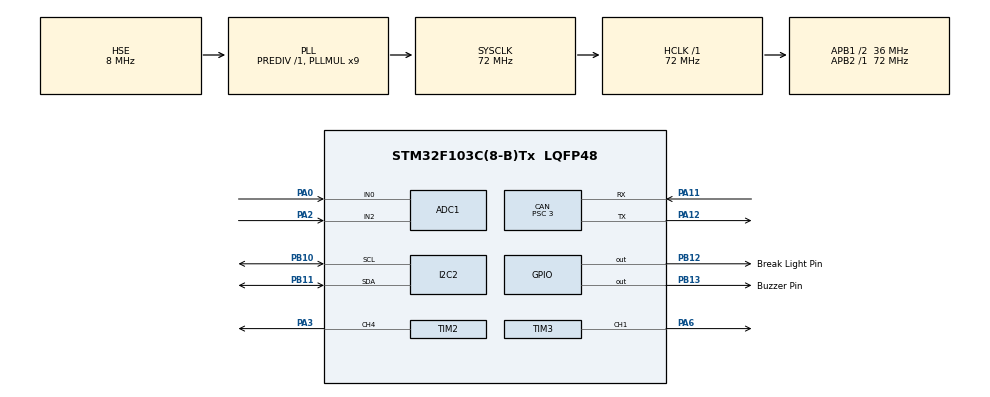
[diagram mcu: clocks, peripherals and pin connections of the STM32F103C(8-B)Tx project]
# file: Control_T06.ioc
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ADC1.Channel-0\#ChannelRegularConversion=ADC_CHANNEL_0
ADC1.Channel-1\#ChannelRegularConversion=ADC_CHANNEL_2
ADC1.ContinuousConvMode=ENABLE
ADC1.NbrOfConversion=2
ADC1.NbrOfConversionFlag=1
ADC1.Rank-0\#ChannelRegularConversion=1
ADC1.Rank-1\#ChannelRegularConversion=2
ADC1.SamplingTime-0\#ChannelRegularConversion=ADC_SAMPLETIME_239CYCLES_5
ADC1.SamplingTime-1\#ChannelRegularConversion=ADC_SAMPLETIME_239CYCLES_5
ADC1.master=1
CAN.BS1=CAN_BS1_8TQ
CAN.BS2=CAN_BS2_3TQ
CAN.CalculateTimeBit=1000
CAN.CalculateTimeQuantum=83.33333333333334
CAN.NART=ENABLE
CAN.Prescaler=3
CAN.TTCM=DISABLE
Dma.ADC1.0.Direction=DMA_PERIPH_TO_MEMORY
Dma.ADC1.0.Instance=DMA1_Channel1
Dma.ADC1.0.MemDataAlignment=DMA_MDATAALIGN_WORD
Dma.ADC1.0.MemInc=DMA_MINC_ENABLE
Dma.ADC1.0.Mode=DMA_CIRCULAR
Dma.ADC1.0.PeriphDataAlignment=DMA_PDATAALIGN_WORD
Dma.ADC1.0.PeriphInc=DMA_PINC_DISABLE
Dma.ADC1.0.Priority=DMA_PRIORITY_LOW
Dma.I2C2_RX.1.Direction=DMA_PERIPH_TO_MEMORY
Dma.I2C2_RX.1.Instance=DMA1_Channel5
Dma.I2C2_RX.1.MemDataAlignment=DMA_MDATAALIGN_WORD
Dma.I2C2_RX.1.MemInc=DMA_MINC_ENABLE
Dma.I2C2_RX.1.Mode=DMA_CIRCULAR
Dma.I2C2_RX.1.PeriphDataAlignment=DMA_PDATAALIGN_WORD
Dma.I2C2_RX.1.PeriphInc=DMA_PINC_DISABLE
Dma.I2C2_RX.1.Priority=DMA_PRIORITY_HIGH
Dma.Request0=ADC1
Dma.Request1=I2C2_RX
I2C2.I2C_Mode=I2C_Fast
Mcu.Family=STM32F1
Mcu.Name=STM32F103C(8-B)Tx
Mcu.Package=LQFP48
NVIC.DMA1_Channel1_IRQn=true\:0\:0\:false\:false\:true\:false\:true
NVIC.DMA1_Channel5_IRQn=true\:0\:0\:false\:false\:true\:false\:true
NVIC.PriorityGroup=NVIC_PRIORITYGROUP_4
NVIC.USB_LP_CAN1_RX0_IRQn=true\:0\:0\:false\:false\:true\:true\:true
NVIC.WWDG_IRQn=true\:0\:0\:false\:false\:true\:true\:true
PA0-WKUP.Signal=ADCx_IN0
PA11.Mode=Master
PA11.Signal=CAN_RX
PA12.Mode=Master
PA12.Signal=CAN_TX
PA13.Mode=Serial_Wire
PA13.Signal=SYS_JTMS-SWDIO
PA14.Mode=Serial_Wire
PA14.Signal=SYS_JTCK-SWCLK
PA2.Signal=ADCx_IN2
PA3.Signal=S_TIM2_CH4
PA6.Signal=S_TIM3_CH1
PB10.Mode=I2C
PB10.Signal=I2C2_SCL
PB11.Mode=I2C
PB11.Signal=I2C2_SDA
PB12.GPIO_Label=Break Light Pin
PB12.Signal=GPIO_Output
PB13.GPIO_Label=Buzzer Pin
PB13.Signal=GPIO_Output
PD0-OSC_IN.Mode=HSE-External-Oscillator
PD0-OSC_IN.Signal=RCC_OSC_IN
PD1-OSC_OUT.Mode=HSE-External-Oscillator
PD1-OSC_OUT.Signal=RCC_OSC_OUT
ProjectManager.HeapSize=0x200
ProjectManager.StackSize=0x400
ProjectManager.TargetToolchain=MDK-ARM V5
RCC.ADCPresc=RCC_ADCPCLK2_DIV6
RCC.AHBFreq_Value=72000000
RCC.APB1CLKDivider=RCC_HCLK_DIV2
RCC.APB1Freq_Value=36000000
RCC.APB1TimFreq_Value=72000000
RCC.APB2Freq_Value=72000000
RCC.APB2TimFreq_Value=72000000
RCC.HCLKFreq_Value=72000000
RCC.PLLMUL=RCC_PLL_MUL9
RCC.PLLSourceVirtual=RCC_PLLSOURCE_HSE
RCC.SYSCLKFreq_VALUE=72000000
RCC.SYSCLKSource=RCC_SYSCLKSOURCE_PLLCLK
RCC.USBFreq_Value=72000000
SH.ADCx_IN0.0=ADC1_IN0,IN0
SH.ADCx_IN2.0=ADC1_IN2,IN2
SH.S_TIM2_CH4.0=TIM2_CH4,PWM Generation4 CH4
SH.S_TIM3_CH1.0=TIM3_CH1,PWM Generation1 CH1
TIM2.Channel-PWM\ Generation4\ CH4=TIM_CHANNEL_4
TIM2.Period=719
TIM3.Channel-PWM\ Generation1\ CH1=TIM_CHANNEL_1
TIM3.Period=719
TIM4.Period=999
TIM4.Prescaler=71
VP_RTC_VS_RTC_Activate.Mode=RTC_Enabled
VP_RTC_VS_RTC_Calendar.Mode=RTC_Calendar
VP_TIM4_VS_ClockSourceINT.Mode=Internal
VP_WWDG_VS_WWDG.Mode=WWDG_Activate
WWDG.EWIMode=WWDG_EWI_ENABLE
WWDG.Prescaler=WWDG_PRESCALER_1
board=custom

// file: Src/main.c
/* USER CODE BEGIN Header */
/**
  ******************************************************************************
  * @file           : main.c
  * @brief          : Main program body
  ******************************************************************************
  * @attention
  *
  * <h2><center>&copy; Copyright (c) 2020 STMicroelectronics.
  * All rights reserved.</center></h2>
  *
  * This software component is licensed by ST under BSD 3-Clause license,
  * the "License"; You may not use this file except in compliance with the
  * License. You may obtain a copy of the License at:
  *                        opensource.org/licenses/BSD-3-Clause
  *
  ******************************************************************************
  */
/* USER CODE END Header */
#include "main.h"
#include "adc.h"
#include "can.h"
#include "dma.h"
#include "i2c.h"
#include "rtc.h"
#include "tim.h"
#include "wwdg.h"
#include "gpio.h"

/* USER CODE BEGIN PTD */
CAN_RxHeaderTypeDef RxHeader;
CAN_FilterTypeDef set_Filter_up;
CAN_TxHeaderTypeDef TxHeader;
RTC_TimeTypeDef sTime;
extern RTC_HandleTypeDef hrtc;
uint32_t TxMailbox;
/* USER CODE END PTD */

/* USER CODE BEGIN PD */

/*---Defines do acelerômetro---*/
#define SMPLRT_DIV_REG 0x19
#define GYRO_CONFIG_REG 0x1B
#define ACCEL_CONFIG_REG 0x1C
#define ACCEL_XOUT_H_REG 0x3B
#define ACCEL_YOUT_H_REG 0x3D
#define ACCEL_ZOUT_H_REG 0x3F
#define TEMP_OUT_H_REG 0x41
#define GYRO_XOUT_H_REG 0x43
#define	GYRO_YOUT_H_REG 0x45
#define	GYRO_ZOUT_H_REG 0x47
#define PWR_MGMT_1_REG 0x6B
#define WHO_AM_I_REG 0x75
#define MPU6050_ADDR 0xD0
/*-----------------------------*/

/*---Defines p/ Frontal--------*/
#define Throtle0_min 0x0001
#define Throtle0_max 0x0010
#define Throtle1_min 0x0001
#define Throtle1_max 0x0010

#define Throtle0_short 0x0000
#define Throtle1_short 0x0000
#define Throtle0_open  0x0000
#define Throtle1_open  0x0000

#define Steer_lft 0x0001
#define Steer_ctr 0x0010
#define Steer_rgt 0x0100
/*-----------------------------*/

/*---Defines para freio---*/
#define Brake0_min 0x0001
#define Brake0_max 0x0001

#define Brake0_short 0x0000
#define Brake1_short 0x0000
#define Brake0_open  0x0000
#define Brake1_open  0x0000
/*------------------------*/

#define False 0
#define True  1

/* USER CODE END PD */

/* USER CODE BEGIN PV */
volatile uint8_t flag_can = 1;
volatile uint8_t flag_tim = 1;
uint8_t dummy = 0xFF;
uint8_t flag_display = 0;

/*--------Análise de tempo---------*/
uint32_t T1 = 0;
uint32_t T2 = 0;
uint32_t T = 0;
uint32_t counter = 0, Acc =0;
uint32_t min = 10000, max = 0;
double Average;
/*---------------------------------*/

/*-----Integração Acelerômetro-----*/
int16_t Accel_X_RAW = 0;
int16_t Accel_Y_RAW = 0;
int16_t Accel_Z_RAW = 0;
double Ax, Ay, Az, Gx, Gy, Gz, Gccx = 0 ,Gccy = 0, Gccz = 0, Accx = 0, Accy = 0, Accz = 0, Offx = 0 , Offy = 0 , Offz = 0, Sup_x = 0, Sup_y = 0, Sup_z = 0, Inf_x = 0, Inf_y = 0, Inf_z = 0;
float Offgx = 0,Offgy = 0, Offgz = 0, Sup_gx = 0 , Sup_gy = 0 ,Sup_gz = 0, Inf_gx = 0, Inf_gy = 0, Inf_gz = 0;
volatile uint16_t X , Y , Z;

int flag_accel = 0, flag_gyro = 0;
/*---------------------------------*/

/*-----Diferencial-----------------*/
double K, dif_lef , dif_rgt;
/*---------------------------------*/

/*-----ADC-------------------------*/
uint32_t data[1], value[2], adc_buffer[2];
uint16_t Brake0, Brake1;
uint8_t adc_buffer_count = 0;
uint32_t Acc_adc[3] = {0,0,0};
double Brake;
/*---------------------------------*/

/*-----BMS-------------------------*/
volatile uint8_t bms[2];
/*---------------------------------*/

/*-----Leitura Frontal-------------*/
volatile uint8_t Front_Data[9];
uint8_t	PowerUp_Btn , PowerDwn_Btn , Ready_Btn;
double	Steer , Throtle0 , Throtle1 , Throtle;
/*---------------------------------*/

/*----Diferencial Simples----------*/
double K, Dif_lef, Dif_rgt;
/*---------------------------------*/

/*----Elementos de segurança-------*/
int flag_dif = 0, flag_apps = 0, flag_bse = 0, flag_bppc = 0;
/*---------------------------------*/

/*----- Leitura dos inversores ----*/
uint8_t inv[4];
/*---------------------------------*/

/*-------Dados telemetria----------*/

uint8_t Tel_data[32];
int flag_tel = 0;

//Tel_data[0]  -> Throtle
//Tel_data[1]  -> Steer
//Tel_data[2]  -> Counter LSB
//Tel_data[3]  -> Counter MSB
//Tel_data[4]  -> Brake
//Tel_data[5]  -> Ax LSB
//Tel_data[6]  -> Ax MSB
//Tel_data[7]  -> Ay LSB
//Tel_data[8]  -> Ay MSB
//Tel_data[9]  -> Az LSB
//Tel_data[10] -> Az MSB
//Tel_data[11] -> Gx LSB
//Tel_data[12] -> Gx MSB
//Tel_data[13] -> Gy LSB
//Tel_data[14] -> Gy MSB
//Tel_data[15] -> Gz LSB
//Tel_data[16] -> Gz MSB
//Tel_data[17] -> Flags 0b0000(dif)(bse)(bppc)(apps)
//Tel_data[18] -> motor1 temp
//Tel_data[19] -> MSB motor1 rpm
//Tel_data[20] -> LSB motor1 rpm
//Tel_data[21] -> motor2 temp
//Tel_data[22] -> MSB motor2 rpm
//Tel_data[23] -> LSB motor2 rpm
//Tel_data[24] -> Inversor errors
//Tel_data[25] -> MSB pack current
//Tel_data[26] -> LSB pack current
//Tel_data[27] -> MSB pack voltage
//Tel_data[28] -> LSB pack voltage
//Tel_data[29] -> state of charge
//Tel_data[30] -> high pack temp
//Tel_data[31] -> low pack temp

/* USER CODE END PV */

void SystemClock_Config(void);
/* USER CODE BEGIN PFP */
void CAN_Setup(void);
void Timer_Setup(void);
void Time_Analisys (void);
void MPU6050_init(void);
void MPU6050_Read_Accel(void);
void MPU6050_Read_Gyro(void);
void Differencial(void);
void PWM ( uint16_t left , uint16_t right );
void HAL_ADC_ConvCpltCallback(ADC_HandleTypeDef* hadc);
void Front_read(void);
double Saturate(double Min, double Value , double Max);
void Can_Rx_Wait(void);
void Set_MPU6050_Up( uint8_t Data, uint8_t reg );
double Max ( double value );
void Security_Elements(void);
void Start_Protocol(void);
void Brake_Process (void);
void Inv_Read(uint8_t inv_id);
void Can_Send_Retrans(uint8_t* buffer);
void Delay (void);
void Tx_Send ( uint32_t Id , uint32_t Dlc , int can_request );
/* USER CODE END PFP */

int main(void)
{

  /* MCU Configuration--------------------------------------------------------*/

  /* Reset of all peripherals, Initializes the Flash interface and the Systick. */
  HAL_Init();

  /* Configure the system clock */
  SystemClock_Config();

  /* Initialize all configured peripherals */
  MX_GPIO_Init();
  MX_DMA_Init();
  MX_CAN_Init();
  MX_RTC_Init();
  MX_TIM2_Init();
  MX_TIM3_Init();
  MX_WWDG_Init();
  MX_I2C2_Init();
  MX_ADC1_Init();
  MX_TIM4_Init();
  /* USER CODE BEGIN 2 */
	CAN_Setup();
	Timer_Setup();
	MPU6050_init();
	HAL_ADC_Start_DMA( &hadc1 , adc_buffer , 2 );
  /* USER CODE END 2 */

  /* Infinite loop */
  while (1)
  {

    /* USER CODE BEGIN 3 */

		T1 = HAL_GetTick();

		//Can_Rx_Wait();

		//Front_read();

		MPU6050_Read_Accel();

		Security_Elements();

		while( flag_dif == 0 ){
			//Differencial();
		}

		T2 = HAL_GetTick();

		Time_Analisys ();

  }
  /* USER CODE END 3 */
}

void SystemClock_Config(void)
{
  RCC_OscInitTypeDef RCC_OscInitStruct = {0};
  RCC_ClkInitTypeDef RCC_ClkInitStruct = {0};
  RCC_PeriphCLKInitTypeDef PeriphClkInit = {0};

  /** Initializes the RCC Oscillators according to the specified parameters
  * in the RCC_OscInitTypeDef structure.
  */
  RCC_OscInitStruct.OscillatorType = RCC_OSCILLATORTYPE_LSI|RCC_OSCILLATORTYPE_HSE;
  RCC_OscInitStruct.HSEState = RCC_HSE_ON;
  RCC_OscInitStruct.HSEPredivValue = RCC_HSE_PREDIV_DIV1;
  RCC_OscInitStruct.HSIState = RCC_HSI_ON;
  RCC_OscInitStruct.LSIState = RCC_LSI_ON;
  RCC_OscInitStruct.PLL.PLLState = RCC_PLL_ON;
  RCC_OscInitStruct.PLL.PLLSource = RCC_PLLSOURCE_HSE;
  RCC_OscInitStruct.PLL.PLLMUL = RCC_PLL_MUL9;
  if (HAL_RCC_OscConfig(&RCC_OscInitStruct) != HAL_OK)
  {
    Error_Handler();
  }
  /** Initializes the CPU, AHB and APB buses clocks
  */
  RCC_ClkInitStruct.ClockType = RCC_CLOCKTYPE_HCLK|RCC_CLOCKTYPE_SYSCLK
                              |RCC_CLOCKTYPE_PCLK1|RCC_CLOCKTYPE_PCLK2;
  RCC_ClkInitStruct.SYSCLKSource = RCC_SYSCLKSOURCE_PLLCLK;
  RCC_ClkInitStruct.AHBCLKDivider = RCC_SYSCLK_DIV1;
  RCC_ClkInitStruct.APB1CLKDivider = RCC_HCLK_DIV2;
  RCC_ClkInitStruct.APB2CLKDivider = RCC_HCLK_DIV1;

  if (HAL_RCC_ClockConfig(&RCC_ClkInitStruct, FLASH_LATENCY_2) != HAL_OK)
  {
    Error_Handler();
  }
  PeriphClkInit.PeriphClockSelection = RCC_PERIPHCLK_RTC|RCC_PERIPHCLK_ADC;
  PeriphClkInit.RTCClockSelection = RCC_RTCCLKSOURCE_LSI;
  PeriphClkInit.AdcClockSelection = RCC_ADCPCLK2_DIV6;
  if (HAL_RCCEx_PeriphCLKConfig(&PeriphClkInit) != HAL_OK)
  {
    Error_Handler();
  }
}

/* USER CODE BEGIN 4 */
void CAN_Setup(void){
//---------Configurações de filtro e máscara---------

	set_Filter_up.FilterIdHigh = 0;
	set_Filter_up.FilterIdLow = 0;
	set_Filter_up.FilterMaskIdHigh = 0;
	set_Filter_up.FilterMaskIdLow = 0;
	set_Filter_up.FilterFIFOAssignment = CAN_FILTER_FIFO0;
	set_Filter_up.FilterBank = 0;
	set_Filter_up.FilterMode = CAN_FILTERMODE_IDMASK;
	set_Filter_up.FilterScale = CAN_FILTERSCALE_32BIT;
	set_Filter_up.FilterActivation = ENABLE;
	HAL_CAN_ConfigFilter(&hcan, &set_Filter_up);

//---------Configurações do envio--------------------

	TxHeader.IDE = CAN_ID_STD;
	TxHeader.RTR = CAN_RTR_DATA;

//---------Início do funcionamento CAN---------------

	HAL_CAN_Start(&hcan);
	HAL_CAN_ActivateNotification(&hcan, CAN_IT_RX_FIFO0_MSG_PENDING);

}

void Timer_Setup(){

	HAL_RTC_Init(&hrtc);
	HAL_TIM_Base_Start_IT(&htim4);
	HAL_TIM_PWM_Start(&htim2, TIM_CHANNEL_4);
	HAL_TIM_PWM_Start(&htim3, TIM_CHANNEL_1);

}

void Time_Analisys (){

	counter++;

	T = T2 - T1;

	if ( T  < min ){
		min = T;
	}else{
		max = T;
	}

	Acc += T;
	Average = (double) Acc/counter;

	//Tempo
	Tel_data[2] = (uint8_t)(counter&0xFF);
	Tel_data[3] = (uint8_t)((counter&0xFF00)>>8);
	Tel_data[4] = (uint8_t) T;

}

void MPU6050_init(void){
	uint8_t check;

	HAL_I2C_Mem_Read (&hi2c2, MPU6050_ADDR,WHO_AM_I_REG,1, &check, 1, 1000);

	if (check == 104)  // 0x68 will be returned by the sensor if everything goes well
	{
		// power management register 0X6B we should write all 0's to wake the sensor up
		Set_MPU6050_Up ( 0x00 , 0x6B );
		// Set DATA RATE of 1KHz by writing SMPLRT_DIV register
		Set_MPU6050_Up ( 0x07 , 0x19 );
		// Set accelerometer configuration in ACCEL_CONFIG Register
		// XA_ST=0,YA_ST=0,ZA_ST=0, FS_SEL=0 -> ± 2g
		Set_MPU6050_Up ( 0x00 , 0x1C );
		// Set Gyroscopic configuration in GYRO_CONFIG Register
		// XG_ST=0,YG_ST=0,ZG_ST=0, FS_SEL=0 -> ± 250 °/s
		Set_MPU6050_Up ( 0x00 , 0x1B );
	}

}

void Set_MPU6050_Up( uint8_t Data, uint8_t reg ){

		uint8_t Config[2];

		Config[0] = Data;
		Config[1] = reg;

		HAL_I2C_Mem_Write(&hi2c2, MPU6050_ADDR, Config[1] , 1, &Config[0], 1, 1000);
}

void MPU6050_Read_Accel(void)
{
	uint8_t Rec_Data[6];

	if ( flag_accel == 0 ){

		for ( int i = 0 ; i < 50 ; i++ ){

			HAL_I2C_Mem_Read (&hi2c2, MPU6050_ADDR, ACCEL_XOUT_H_REG, 1, Rec_Data, 6, 100);

			Ax = ((int16_t)(Rec_Data[0] << 8 | Rec_Data [1]))/16384.0;
			Ay = ((int16_t)(Rec_Data[2] << 8 | Rec_Data [3]))/16384.0;
			Az = ((int16_t)(Rec_Data[4] << 8 | Rec_Data [5]))/16384.0;

			Accx = Accx + Ax;
			Accy = Accy + Ay;
			Accz = Accz + Az;

			if( i == 0){
				Inf_x = Ax;
				Inf_y = Ay;
				Inf_z = Az;
			}
					//Determinação da faixa de janelamento
			if ( Ax > Sup_x ){
				Sup_x = Ax;
			}else if ( Ax < Inf_x){
				Inf_x = Ax;
			}

			if ( Ay > Sup_y ){
				Sup_y = Ay;
			}else if ( Ay < Inf_y){
				Inf_y = Ay;
			}

			if ( Az > Sup_z ){
				Sup_z = Az;
			}else if ( Az < Inf_z){
				Inf_z = Az;
			}

		}

		//Determinação do offset
		Offx = Accx/50;
		Offy = Accy/50;
		Offz = Accz/50;

		Accx = 0;
		Accy = 0;
		Accz = 0;

		flag_accel = 1;
	}else{

		//Aplicação do filtro de média móvel

		for (int i = 0 ; i < 10 ; i++ ){

				HAL_I2C_Mem_Read (&hi2c2, MPU6050_ADDR, ACCEL_XOUT_H_REG, 1, &Rec_Data[0], 2, 100);

				Ax = ((int16_t)(Rec_Data[0] << 8 | Rec_Data [1]))/16384.0;

				if((Ax < Sup_x) && (Ax > Inf_x)) Ax = 0; // Aplicação do janelamento

				Accx = Accx + Ax;

			}

			Ax = (Accx/10) - Offx;

		for (int i = 0 ; i < 10 ; i++ ){

				HAL_I2C_Mem_Read (&hi2c2, MPU6050_ADDR, ACCEL_YOUT_H_REG, 1, &Rec_Data[2], 2, 100);

				Ay = ((int16_t)(Rec_Data[2] << 8 | Rec_Data [3]))/16384.0;

				if((Ay < Sup_y) && (Ay > Inf_y)) Ay = 0;

				Accy = Accy + Ay;

			}

			Ay = (Accy/10) - Offy;

		for (int i = 0 ; i < 10 ; i++ ){

			HAL_I2C_Mem_Read (&hi2c2, MPU6050_ADDR, ACCEL_ZOUT_H_REG, 1, &Rec_Data[4], 2, 100);

			Az = ((int16_t)(Rec_Data[4] << 8 | Rec_Data [5]))/16384.0;

			if((Az < Sup_z) && (Az > Inf_z)) Az = 0;

			Accz = Accz + Az;

		}

		Az = (Accz/10) - Offz;

	}

	//Acelerometro
	Tel_data[5] = (uint8_t)(Ax*0x00FF);
	Tel_data[6] = (uint8_t)(Ax*0xFF00) >> 8;
	Tel_data[7] = (uint8_t)(Ay*0x00FF);
	Tel_data[8] = (uint8_t)(Ay*0xFF00) >> 8;
	Tel_data[9] = (uint8_t)(Az*0x00FF);
	Tel_data[10] = (uint8_t)(Az*0xFF00) >> 8;

}

void MPU6050_Read_Gyro(void)
{
	uint8_t Rec_Gyro[6];

	if ( flag_gyro == 0 ){

		for ( int i = 0 ; i < 50 ; i++ ){

			HAL_I2C_Mem_Read (&hi2c2, MPU6050_ADDR, GYRO_XOUT_H_REG, 1, Rec_Gyro, 6, 100);

			Gx = ((int16_t)(Rec_Gyro[0] << 8 | Rec_Gyro [1]))/131.0;
			Gy = ((int16_t)(Rec_Gyro[2] << 8 | Rec_Gyro [3]))/131.0;
			Gz = ((int16_t)(Rec_Gyro[4] << 8 | Rec_Gyro [5]))/131.0;

			Gccx = Gccx + Gx;
			Gccy = Gccy + Gy;
			Gccz = Gccz + Gz;

			if( i == 0){
				Inf_gx = Gx;
				Inf_gy = Gy;
				Inf_gz = Gz;
			}

			//Determinação da faixa de janelamento
			if ( Gx > Sup_gx ){
				Sup_gx = Gx;
			}else if ( Gx < Inf_gx){
				Inf_gx = Gx;
			}

			if ( Gy > Sup_gy ){
				Sup_gy = Gy;
			}else if ( Gy < Inf_gy){
				Inf_gy = Gy;
			}

			if ( Gz > Sup_gz ){
				Sup_gz = Gz;
			}else if ( Gz < Inf_gz){
				Inf_gz = Gz;
			}

		}

		//Determinação do offset
		Offgx = Gccx/50;
		Offgy = Gccy/50;
		Offgz = Gccz/50;

		Gccx = 0;
		Gccy = 0;
		Gccz = 0;

		flag_gyro = 1;
	}else{

		//Aplicação do filtro de média móvel

			for (int i = 0 ; i < 10 ; i++ ){

				HAL_I2C_Mem_Read (&hi2c2, MPU6050_ADDR, GYRO_XOUT_H_REG, 1, &Rec_Gyro[0], 2, 100);

				Gx = ((int16_t)(Rec_Gyro[0] << 8 | Rec_Gyro [1]))/131.0;

				if ( (Gx < Sup_gx) && (Gx > Inf_gx)) Gx = 0; // Aplicação do janelamento

				Gccx = Gccx + Gx;

			}

			Gx = (Gccx/10) - Offgx;

			for (int i = 0 ; i < 10 ; i++ ){

				HAL_I2C_Mem_Read (&hi2c2, MPU6050_ADDR, GYRO_YOUT_H_REG, 1, &Rec_Gyro[2], 2, 100);

				Gy = ((int16_t)(Rec_Gyro[2] << 8 | Rec_Gyro [3]))/131.0;

				if ( (Gy < Sup_gy) && (Gy > Inf_gy)) Gy = 0;

				Gccy = Gccy + Gy;

			}

			Gy = (Gccy/10) - Offgy;

			for (int i = 0 ; i < 10 ; i++ ){

				HAL_I2C_Mem_Read (&hi2c2, MPU6050_ADDR, GYRO_ZOUT_H_REG, 1, &Rec_Gyro[4], 2, 100);

				Gz = ((int16_t)(Rec_Gyro[4] << 8 | Rec_Gyro[5]))/131.0;

				if ( (Gz < Sup_gz) && (Gz > Inf_gz)) Gz = 0;

				Gccz = Gccz + Gz;

			}

			Gz = (Gccz/10) - Offgz;

	}

	//Giroscopio
	Tel_data[11] = (uint8_t)(Gx*0x00FF);
	Tel_data[12] = (uint8_t)(Gx*0xFF00) >> 8;
	Tel_data[13] = (uint8_t)(Gy*0x00FF);
	Tel_data[14] = (uint8_t)(Gy*0xFF00) >> 8;
	Tel_data[15] = (uint8_t)(Gz*0x00FF);
	Tel_data[16] = (uint8_t)(Gz*0xFF00) >> 8;

}

void Differencial(void){

			/*K = (D*tan((steer*24.5)/(180/pi))) / (2*L);
			Dif_lef = (397*Throtle + 22)*(1 - K);
			Dif_rgt = (  397*Throtle + 22)*(1 + K);
			Dif_lef = Saturate(22, Dif_lef, 419);
			Dif_rgt = Saturate(22, Dif_rgt, 419);*/

			//__HAL_TIM_SET_COMPARE(&htim2, TIM_CHANNEL_1,(uint16_t) dif_lef);
			//__HAL_TIM_SET_COMPARE(&htim3, TIM_CHANNEL_1,(uint16_t) dif_rgt);

			PWM( (uint16_t) dif_lef , (uint16_t) dif_rgt );

}

void PWM ( uint16_t left , uint16_t right ){
	__HAL_TIM_SET_COMPARE(&htim2, TIM_CHANNEL_1, left);
	__HAL_TIM_SET_COMPARE(&htim3, TIM_CHANNEL_1, right);
}

void HAL_ADC_ConvCpltCallback(ADC_HandleTypeDef* hadc){

	if (hadc -> Instance == ADC1){
		for ( int i = 0 ; i < 2 ; i++ ){
			if(adc_buffer_count < 20){ //faz a média dos 20 últimos valores coletados e envia por CAN
				adc_buffer_count++;
				Acc_adc[i] +=adc_buffer[i];
			}else{
				value[i] = Acc_adc[i]/20;
				Acc_adc[i] = 0;
				adc_buffer_count = 0;

				Brake0 = value[0];
				Brake1 = value[1];
				Brake_Process();
			}
		}
	}
}

void Brake_Process(void){

	Brake = (double)(Brake0 - Brake0_min)/(Brake0_max - Brake0_min);
	Brake = Saturate(0, Brake, 1);
	Tel_data[4] = (Brake*255);

}

void Front_read(){
	uint16_t Frontal_Id = 0x410;

	Tx_Send( Frontal_Id , 1 , True );

	/*----------Recuperação de dados----------------*/
	Throtle0 =  ((Front_Data[1]<<8) | Front_Data[0]);

	Throtle1 =  ((Front_Data[3]<<8) | Front_Data[2]);

	Steer 	 = 	((Front_Data[5]<<8) | Front_Data[4]);
	/*----------------------------------------------*/

	/*-----------Definição da Throtle---------------*/
	Throtle = (double) (Throtle0 - Throtle0_min)/(Throtle0_max - Throtle0_min) ;
	Throtle = Saturate(0, Throtle, 1);
	/*----------------------------------------------*/

	/*-----------Definição do esterço---------------*/
	Steer = (double)(Steer - Steer_ctr);
	if ( Steer < 0 ) {
		Steer = Steer / (Steer_rgt - Steer_ctr);
	}	else{
			Steer = Steer / (Steer_ctr - Steer_lft);
	}
	Steer = Saturate(-1, Steer, 1);
	/*----------------------------------------------*/

	/*------------Dados p/ Telemetria---------------*/

	Tel_data[0] = Throtle*255;
	Tel_data[1] = (Steer * 127) + 127;

	HAL_CAN_AddTxMessage(&hcan, &TxHeader, &Tel_data[0], &TxMailbox);
	/*----------------------------------------------*/
}

void Tel_Send(void){

	int i;

	for ( i = 0 ; i < 4 ; i++ ){
		Tx_Send ( 0x610 + i , 8 , False );
		HAL_CAN_AddTxMessage(&hcan, &TxHeader, (uint8_t*)&Tel_data[8*i], &TxMailbox);
	}

	flag_tel = 1;

}

void Display_Send (void){

		Tx_Send( 0x510 , 8 , False );
		HAL_CAN_AddTxMessage(&hcan, &TxHeader , &Tel_data[0] , &TxMailbox);

	//fazer o laço for

		flag_display = 1;

}

double Saturate(double Min, double Value , double Max){
	double V;

	if ( Value < Min ){
		V = Min;
	} else {
			if ( Value > Max ){
				V = Max;
			} else {
				V = Value;
			}
		}

	return V;
}

void Bms_Read(){
	uint16_t bms_pid[7] = {0xF00B, 0xF00C, 0xF014, 0xF00F, 0xF028, 0xF02A, 0xF032};
	uint8_t buffer[8];
	int i;

	TxHeader.StdId = 0x7E3;
	TxHeader.DLC = 8;
	buffer[0] = 0x04;
	buffer[1] = 0x22;
	for(i=0; i<7; i++){
		buffer[2] = (bms_pid[i] & 0xFF00) >> 8;
		buffer[3] = bms_pid[i] & 0x00FF;
		Can_Send_Retrans(buffer);
	}
}

void Can_Rx_Wait(){
	while(flag_can);
	flag_can = 1;
}

void Security_Elements(void){

	int count_error = 0, flag_error = 0;

	if ( flag_dif == 0 ){
		//Verificação do APPS: Se o pedal de aceleração for desconectado ou curto-circuitado, então o diferencial não funcionará
		if((Throtle0 < Throtle0_short) || (Throtle0 > Throtle0_open) || (Throtle1 < Throtle1_short) || (Throtle1 > Throtle1_open)){
			flag_apps = 1;
		}
		//Verificação do BSE: Se o transdutor de pressão de freio for desconectado ou curto-circuitado, então o diferencial não funcionará
		if((Brake0 < Brake0_short) || (Brake0 > Brake0_open) || (Brake1 < Brake1_short) || (Brake1 > Brake0_open)){
			flag_bse = 1;
		}
		//Condição para desligamento dos motores
		if ( ( flag_apps == 1 ) || ( flag_bse == 1 ) ){
			flag_dif = 1;
			PWM( 18 , 18 );
			count_error++;
		}

		//Verificação do BPPC: Deve desligar os motores caso os freios sejam acionados enquanto o pedal de aceleração se encontra com uma excursão maior que 25%
		if ((Throtle > 0.25)&&(Brake > 0.1)){
			flag_dif = 1;
			flag_bppc = 1;
			PWM( 18 , 18 );
		}
	}	else{
		//verificar a condição de 100ms de espera
		if(count_error > 0){
			count_error++;

			if(count_error > 10){
				//Verificação do APPS: Se o pedal de aceleração for desconectado ou curto-circuitado, então o diferencial não funcionará
				if((Throtle0 < Throtle0_short) || (Throtle0 > Throtle0_open) || (Throtle1 < Throtle1_short) || (Throtle1 > Throtle1_open)){
					flag_error = 1;
				}
				//Verificação do BSE: Se o transdutor de pressão de freio for desconectado ou curto-circuitado, então o diferencial não funcionará
				if((Brake0 < Brake0_short) || (Brake0 > Brake0_open) || (Brake1 < Brake1_short) || (Brake1 > Brake0_open)){
					flag_error = 1;
				}

				if(flag_error == 0){
					flag_dif = 0;
					count_error = 0;
				}
			}
		}else{
			if(Throtle < 0.05){
				flag_dif = 0;
				flag_bppc = 0;
		}
	}
	}

	//Flags
	Tel_data[17] = ((flag_apps&0x01)|((flag_bppc<<1)&0x02)|((flag_bse<<2)&0x04)|((flag_dif<<3)&0x08));
}

void Break_Light(void){
	if(Brake > 0.1){
		HAL_GPIO_WritePin(GPIOB, GPIO_PIN_12, GPIO_PIN_RESET);
	}
	else{
		if(Brake < 0.05){
		HAL_GPIO_WritePin(GPIOB, GPIO_PIN_12, GPIO_PIN_SET);
		}
	}
}

void Inv_Read(uint8_t inv_id){
	uint8_t inv_com1[1] = {0x33};
	uint8_t inv_com2[1] = {0x37};

	Tx_Send ( inv_id , 1 , 0 );

	TxHeader.StdId = inv_id;
	TxHeader.DLC = 1;
	Can_Send_Retrans(inv_com1);
	Can_Send_Retrans(inv_com2);
}

void Can_Send_Retrans(uint8_t* buffer){
	uint16_t cnt0;

	while(1){
		HAL_CAN_AddTxMessage(&hcan, &TxHeader, &buffer[0], &TxMailbox);
		cnt0 = __HAL_TIM_GET_COUNTER(&htim4);
		while(((__HAL_TIM_GET_COUNTER(&htim4) - cnt0) < 400) && flag_can == 1);
		if(flag_can == 0){
			flag_can = 1;
			break;
		}
	}
}

void Delay (void){
	for(int i=0; i<200; i++){
		while(flag_tim);
		flag_tim = 1;
	}
}

void Start_Protocol(void){
	uint8_t Button;

	Delay();

	do{
		Inv_Read(0x06B);
		Inv_Read(0x06C);
	}while((inv[0] | inv[1] | inv[2] | inv[3]) != 0x00);

	do{
		Front_read();
		Brake_Process();
		Button = Front_Data[6];
	}while(( Button != 1  )||( Brake < 0.8 ));

	HAL_GPIO_WritePin(Buzzer_Pin_GPIO_Port,Buzzer_Pin_Pin,GPIO_PIN_RESET);		// definidos no main.h
	Delay ();
	HAL_GPIO_WritePin(Buzzer_Pin_GPIO_Port,Buzzer_Pin_Pin,GPIO_PIN_SET);

	Tel_data[24] = (inv[0]&0x01)|((inv[1]<<1)&0x02)|((inv[2]<<2)&0x04)|((inv[3]<<2)&0x08);

}

void Tx_Send ( uint32_t Id , uint32_t Dlc , int can_request ){

	if ( can_request == False ){
		TxHeader.StdId = Id;
		TxHeader.DLC = Dlc;
	}else{
		TxHeader.StdId = Id;
		TxHeader.DLC = Dlc;
		HAL_CAN_AddTxMessage(&hcan, &TxHeader, &dummy, &TxMailbox);
	}

}

/* USER CODE END 4 */

/**
  * @brief  This function is execute d in case of error occurrence.
  * @retval None
  */
void Error_Handler(void)
{
}

/************************ (C) COPYRIGHT STMicroelectronics *****END OF FILE****/
